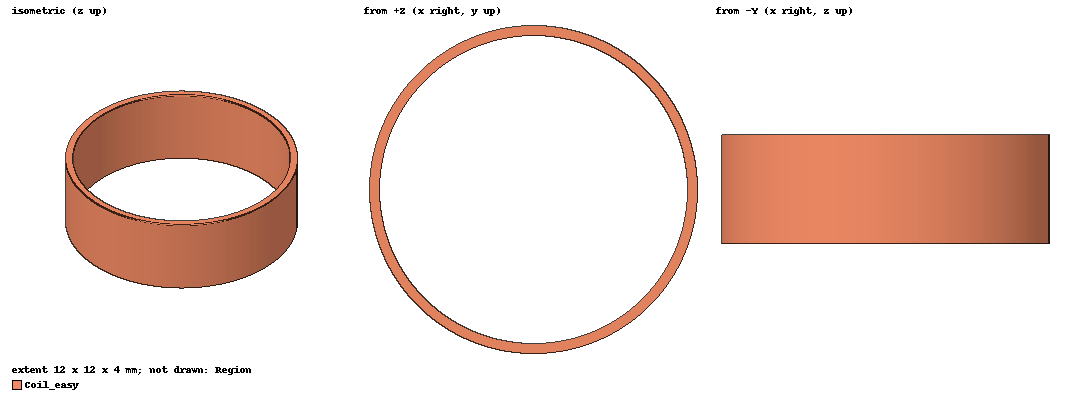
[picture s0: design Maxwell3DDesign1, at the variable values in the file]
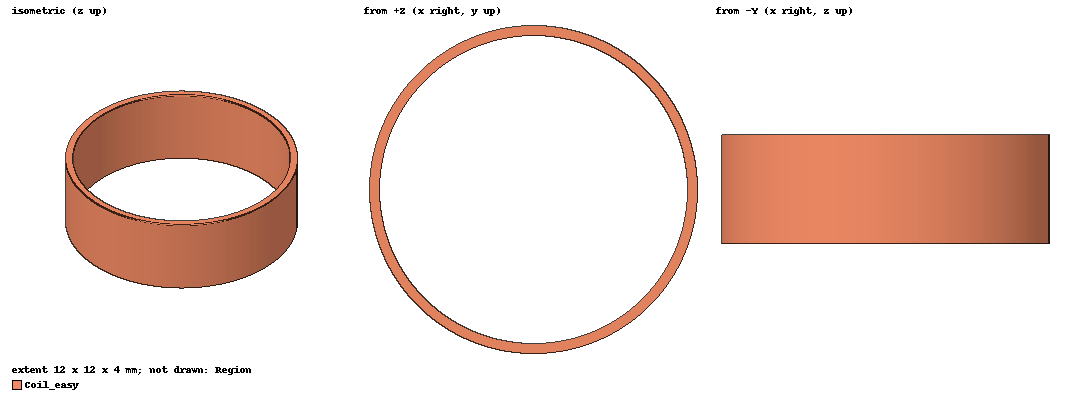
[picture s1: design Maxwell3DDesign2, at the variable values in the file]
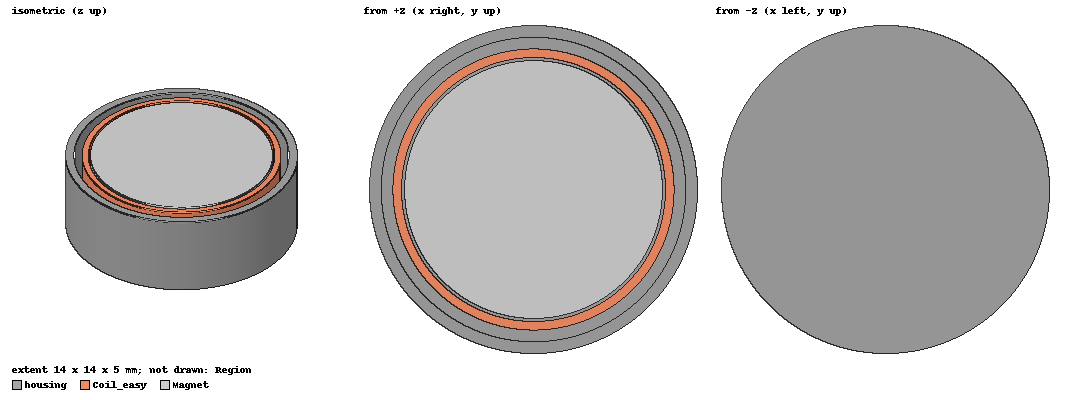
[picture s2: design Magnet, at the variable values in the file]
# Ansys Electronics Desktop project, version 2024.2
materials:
  vacuum: permittivity=1
  copper: permeability=0.999991 conductivity=58000000
  NdFe35: permittivity=1 permeability=1.0997785 conductivity=625000 magnetic_coercivity{Magnitude=-890000A_per_meter DirComp1=1 DirComp2=0 DirComp3=0} lande_g_factor=2
  steel_1008: permeability{HUnit=A_per_meter BUnit=tesla curve (0, 0) (159.2, 0.2402) (318.3, 0.8654) (477.5, 1.1106) (636.6, 1.2458) (795.8, 1.331) (1591.5, 1.5) (3183.1, 1.6) (4774.6, 1.683) (6366.2, 1.741) (7957.7, 1.78) (15915.5, 1.905) (31831, 2.025) (47746.5, 2.085) (63662, 2.13) (79577.5, 2.165) (159155, 2.28) (318310, 2.485) (397887, 2.5851)} conductivity=2000000

design Maxwell3DDesign1 (Maxwell 3D, Magnetostatic, model units mm)
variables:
  wire = 0.05mm
  N = 40
  coil = 6mm
  m = 2.4mm
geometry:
  Region [vacuum] = box(corner=(18.081505mm, 18.081505mm, -4.1700005mm), size=(-36.163009mm, -36.163009mm, 12.360001mm))
  point 1 = (5.7995mm, 0mm, 0mm)
  point 1 = (0mm, 0mm, 0mm)
  Coil_easy [copper] = cylinder(axis=Z, base_centre=(0mm, 0mm, 0mm), radius=6mm, height=4mm)
  Cylinder3 = cylinder(axis=Z, base_centre=(0mm, 0mm, 0mm), radius=5.6320511mm, height=4mm)
  Coil_easy.subtract(Cylinder3)
  Coil_easy_Section1 = Coil_easy.section(plane=ZX)
  Coil_easy_Section1_Separate1 [copper] = Coil_easy_Section1.separate_bodies()
  Coil_easy_Section1.delete()
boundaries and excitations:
  CoilTerminal1: Coil Terminal Objects=Coil_easy_Section1_Separate1 Conductor_number=40*3 Winding=Winding1 Point_out_of_terminal=false
  Winding1: Winding Group Type=Current IsSolid=false Current=500mA ParallelBranchesNum=1
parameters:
  Matrix1: Matrix Winding1: NumberOfTurns=1
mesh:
  Length1: LengthBased RefineInside Objects=Coil_easy MaxLength=0.5mm
  initial mesh: GlobalCurvilinear{Apply}
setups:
  Setup1: Magnetostatic MaximumPasses=10 MinimumPasses=2 MinimumConvergedPasses=1 PercentRefinement=30 PercentError=1 NonLinearResidual=0.001
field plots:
  Mag_B1: B in Region on Setup1 : LastAdaptive
  B_Vector1: B in Coil_easy on Setup1 : LastAdaptive
  Mesh1: MeshPlots in Coil_easy on Setup1 : LastAdaptive
  energy1: Energy in Coil_easy on Setup1 : LastAdaptive
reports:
  L Table 1: Matrix1.L(Winding1,Winding1), Matrix1.Lnom(Winding1,Winding1), Matrix1.L(Winding1,Winding1), StrandedLoss, SolidLoss, PerWindingStrandedLoss(Winding1), FluxLinkage(Winding1), InputCurrent(Winding1) vs wire on Setup1 : LastAdaptive
  Loss Table 1: SolidLoss vs wire on Setup1 : LastAdaptive
  L: Matrix1.L(Winding1,Winding1) vs Area(Coil_easy_Section1_Separate1) on Setup1 : AdaptivePass [Pass=all wire=all N=all coil=all m=all]

design Maxwell3DDesign2 (Maxwell 3D, EddyCurrent, model units mm)
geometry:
  Coil_easy [copper] = cylinder(axis=Z, base_centre=(0mm, 0mm, 0mm), radius=6mm, height=4mm)
  Cylinder3 = cylinder(axis=Z, base_centre=(0mm, 0mm, 0mm), radius=5.6320511mm, height=4mm)
  Coil_easy.subtract(Cylinder3)
  Region [vacuum] = box(corner=(18.081505mm, 18.081505mm, -4.1700005mm), size=(-36.163009mm, -36.163009mm, 12.360001mm))
  Coil_easy1 = cylinder(axis=Z, base_centre=(0mm, 0mm, 0mm), radius=6mm, height=4mm)
  Cylinder4 = cylinder(axis=Z, base_centre=(0mm, 0mm, 0mm), radius=5.6320511mm, height=4mm)
  Coil_easy1.subtract(Cylinder4)
  Coil_easy_Section1 = Coil_easy1.section(plane=ZX)
  Coil_easy_Section1_Separate1 [copper] = Coil_easy_Section1.separate_bodies()
  [Coil_easy1, Coil_easy_Section1].delete()
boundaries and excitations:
  CoilTerminal1: Coil Terminal Objects=Coil_easy_Section1_Separate1 Conductor_number=40*3 Winding=Winding1 Point_out_of_terminal=false
  Winding1: Winding Group Type=Current IsSolid=false Current=500mA ParallelBranchesNum=120 Phase=0deg
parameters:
  Matrix1: Matrix Winding1:
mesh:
  Length1: LengthBased RefineInside Objects=Coil_easy MaxLength=1mm
  initial mesh: GlobalCurvilinear{Apply}
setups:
  Setup1: EddyCurrent MaximumPasses=10 MinimumPasses=2 MinimumConvergedPasses=1 PercentRefinement=30 PercentError=1 NonLinearResidual=0.0001 Frequency=60Hz LossAdaptiveCtrl=0.5
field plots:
  Mesh1: MeshPlots in Coil_easy on Setup1 : LastAdaptive at Freq=60Hz Phase=0deg
  Mag_B1: B in Region on Setup1 : LastAdaptive at Freq=60Hz Phase=0deg

design Magnet (Maxwell 3D, Magnetostatic, model units mm)
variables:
  current_sweep = 500mA
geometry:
  Coil_easy [copper] = cylinder(axis=Z, base_centre=(0mm, 0mm, 0mm), radius=6mm, height=4mm)
  Cylinder3 = cylinder(axis=Z, base_centre=(0mm, 0mm, 0mm), radius=5.6320511mm, height=4mm)
  Coil_easy.subtract(Cylinder3)
  Region [vacuum] = box(corner=(18.081505mm, 18.081505mm, -4.1700005mm), size=(-36.163009mm, -36.163009mm, 12.360001mm))
  plane Plane1 = base (0mm, 6mm, 0mm) normal (5mm, 0mm, 0mm)
  Coil_easy1 = cylinder(axis=Z, base_centre=(0mm, 0mm, 0mm), radius=6mm, height=4mm)
  Cylinder4 = cylinder(axis=Z, base_centre=(0mm, 0mm, 0mm), radius=5.6320511mm, height=4mm)
  Coil_easy1.subtract(Cylinder4)
  Coil_easy_Section1 [copper] = Coil_easy1.section(plane=ZX)
  Coil_easy1.delete()
  Coil_easy_Section1.separate_bodies()
  Magnet [NdFe35] = cylinder(axis=Z, base_centre=(0mm, 0mm, 0mm), radius=5.5mm, height=4mm)
  housing [steel_1008] = cylinder(axis=Z, base_centre=(0mm, 0mm, -0.5mm), radius=7mm, height=4.5mm)
  Cylinder6 = cylinder(axis=Z, base_centre=(0mm, 0mm, -0.5mm), radius=6.5mm, height=4.5mm)
  housing.subtract(Cylinder6)
  Cylinder7 = cylinder(axis=Z, base_centre=(0mm, 0mm, 0mm), radius=7mm, height=-1mm)
  housing.unite(Cylinder7)
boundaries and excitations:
  CoilTerminal1: Coil Terminal Objects=Coil_easy_Section1 Conductor_number=120 Winding=Winding1 Point_out_of_terminal=true
  Winding1: Winding Group Type=Current IsSolid=false Current=current_sweep ParallelBranchesNum=1
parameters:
  Force1: Force Reference_CS=Global Is_Virtual=true Objects=Coil_easy
  Matrix1: Matrix Winding1: NumberOfTurns=1
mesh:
  initial mesh: GlobalCurvilinear{Apply}
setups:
  Setup1: Magnetostatic MaximumPasses=10 MinimumPasses=2 MinimumConvergedPasses=1 PercentRefinement=30 PercentError=1 NonLinearResidual=0.001
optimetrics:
  ParametricSetup1: Parametric Sim._Setups=[Setup1]
    sweep current_sweep: LIN 0mA 1000mA 50mA
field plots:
  B_Vector1: B over a plane on Setup1 : LastAdaptive
  B_Vector2: B in housing, Magnet on Setup1 : LastAdaptive
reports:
  Force Table 1: Force1.Force_z vs current_sweep on Setup1 : LastAdaptive
  Force Plot 1: Force1.Force_z vs current_sweep on Setup1 : LastAdaptive
  Force Plot 2: Force1.Force_mag vs current_sweep, current_sweep on Setup1 : LastAdaptive
  Force Plot 3: Force1.Force_z vs current_sweep on Setup1 : LastAdaptive
